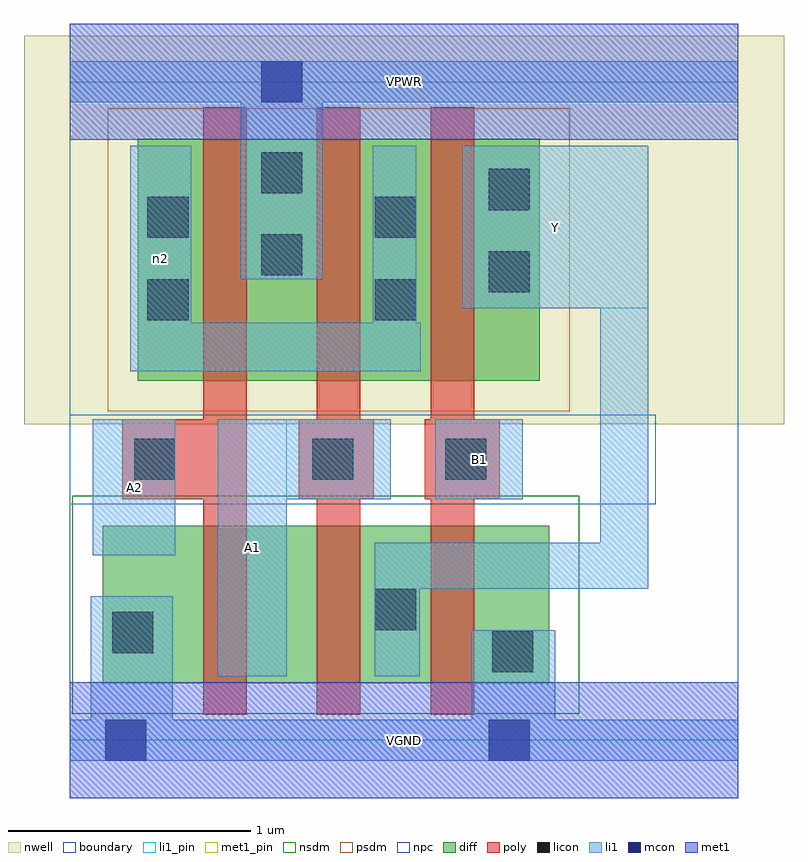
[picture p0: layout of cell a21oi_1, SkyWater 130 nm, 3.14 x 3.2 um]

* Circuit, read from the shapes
.subckt a21oi_1 A1 A2 B1 VGND VPWR Y n2
XM1 n1 A2 VGND VSUBS sky130_fd_pr__nfet_01v8 w=0.65 l=0.18
XM2 Y A1 n1 VSUBS sky130_fd_pr__nfet_01v8 w=0.65 l=0.18
XM3 VGND B1 Y VSUBS sky130_fd_pr__nfet_01v8 w=0.65 l=0.18
XM4 VPWR A2 n2 n3 sky130_fd_pr__pfet_01v8 w=1 l=0.18
XM5 n2 A1 VPWR n3 sky130_fd_pr__pfet_01v8 w=1 l=0.18
XM6 Y B1 n2 n3 sky130_fd_pr__pfet_01v8 w=1 l=0.18
.ends

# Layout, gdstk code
import gdstk
lib = gdstk.Library(unit=1e-6, precision=1e-09)
def R(c, l, rs):  # rectangles x0, y0, x1, y1
    for r in rs: c.add(gdstk.rectangle(r[:2], r[2:], *l))
def A(c, l, x, y, w, h, nx, ny, dx, dy):  # array of equal rectangles
    R(c, l, [(x+i*dx, y+j*dy, x+i*dx+w, y+j*dy+h) for i in range(nx) for j in range(ny)])
nwell = (64, 20)
diff = (65, 20)
poly = (66, 20)
licon = (66, 44)
li1_pin = (67, 16)
li1 = (67, 20)
mcon = (67, 44)
met1_pin = (68, 16)
met1 = (68, 20)
nsdm = (93, 44)
psdm = (94, 20)
npc = (95, 20)
boundary = (235, 4)

a21oi_1 = lib.new_cell('a21oi_1')
R(a21oi_1, nwell, [(-0.19,1.305,2.95,2.91), (0,1.305,2.76,2.91)])
R(a21oi_1, diff, [(0.135,0.235,1.98,0.885), (0.28,1.485,1.94,2.485)])
A(a21oi_1, poly, 0.55, 0.105, 0.18, 2.51, 3, 1, 0.47, 0)
R(a21oi_1, poly, [(0.215,0.995,0.73,1.325), (0.945,0.995,1.255,1.325), (1.465,0.995,1.775,1.325)])
R(a21oi_1, licon, [(1.745,0.28,1.915,0.45), (0.175,0.36,0.345,0.53), (1.26,0.455,1.43,0.625), (0.265,1.075,0.435,1.245), (1,1.075,1.17,1.245), (1.55,1.075,1.72,1.245), (0.32,1.735,0.49,1.905), (1.26,1.735,1.43,1.905), (1.73,1.85,1.9,2.02), (0.79,1.92,0.96,2.09), (0.32,2.075,0.49,2.245), (1.26,2.075,1.43,2.245), (1.73,2.19,1.9,2.36), (0.79,2.26,0.96,2.43)])
R(a21oi_1, li1_pin, [(0.61,0.265,0.895,1.325), (0.095,0.765,0.435,1.325), (1.51,0.995,1.87,1.325), (1.62,1.785,2.39,2.455)])
R(a21oi_1, li1, [(0,-0.085,2.76,0.085), (0.085,-0.085,0.425,0.595), (1.66,-0.085,2.005,0.455), (0.61,0.265,0.895,1.325), (1.26,0.265,1.445,0.815), (1.26,0.625,2.39,0.815), (2.19,0.625,2.39,2.455), (0.095,0.765,0.435,1.325), (0.61,0.995,1.325,1.325), (1.51,0.995,1.87,1.325), (0.25,1.525,0.5,2.455), (0.25,1.525,1.45,1.725), (1.25,1.525,1.43,2.455), (1.62,1.785,2.39,2.455), (0.705,1.905,1.045,2.805), (0,2.635,2.76,2.805)])
R(a21oi_1, mcon, [(0.145,-0.085,0.315,0.085), (1.73,-0.085,1.9,0.085), (0.79,2.635,0.96,2.805)])
R(a21oi_1, met1_pin, [(0,-0.24,2.76,0.24), (0,2.48,2.76,2.96)])
R(a21oi_1, met1, [(0,-0.24,2.76,0.24), (0,2.48,2.76,2.96)])
R(a21oi_1, nsdm, [(0.01,0.11,2.105,1.01)])
R(a21oi_1, psdm, [(0.155,1.36,2.065,2.61)])
R(a21oi_1, npc, [(0,0.975,2.42,1.345)])
R(a21oi_1, boundary, [(0,0,2.76,2.72)])
a21oi_1.add(gdstk.Label('A1', (0.752,0.795), layer=67, texttype=5))
a21oi_1.add(gdstk.Label('A2', (0.265,1.045), layer=67, texttype=5))
a21oi_1.add(gdstk.Label('B1', (1.69,1.16), layer=67, texttype=5))
a21oi_1.add(gdstk.Label('Y', (2.005,2.12), layer=67, texttype=5))
a21oi_1.add(gdstk.Label('n2', (0.375,1.99), layer=67, texttype=5))
a21oi_1.add(gdstk.Label('VPWR', (1.38,2.72), layer=68, texttype=5))
a21oi_1.add(gdstk.Label('VGND', (1.38,0), layer=68, texttype=5))
a21oi_1.add(gdstk.Label('A1', (0.752,0.795), layer=67, texttype=16))
a21oi_1.add(gdstk.Label('A2', (0.265,1.045), layer=67, texttype=16))
a21oi_1.add(gdstk.Label('B1', (1.69,1.16), layer=67, texttype=16))
a21oi_1.add(gdstk.Label('Y', (2.005,2.12), layer=67, texttype=16))
a21oi_1.add(gdstk.Label('VPWR', (1.38,2.72), layer=68, texttype=16))
a21oi_1.add(gdstk.Label('VGND', (1.38,0), layer=68, texttype=16))

lib.write_gds('a21oi_1.gds')
